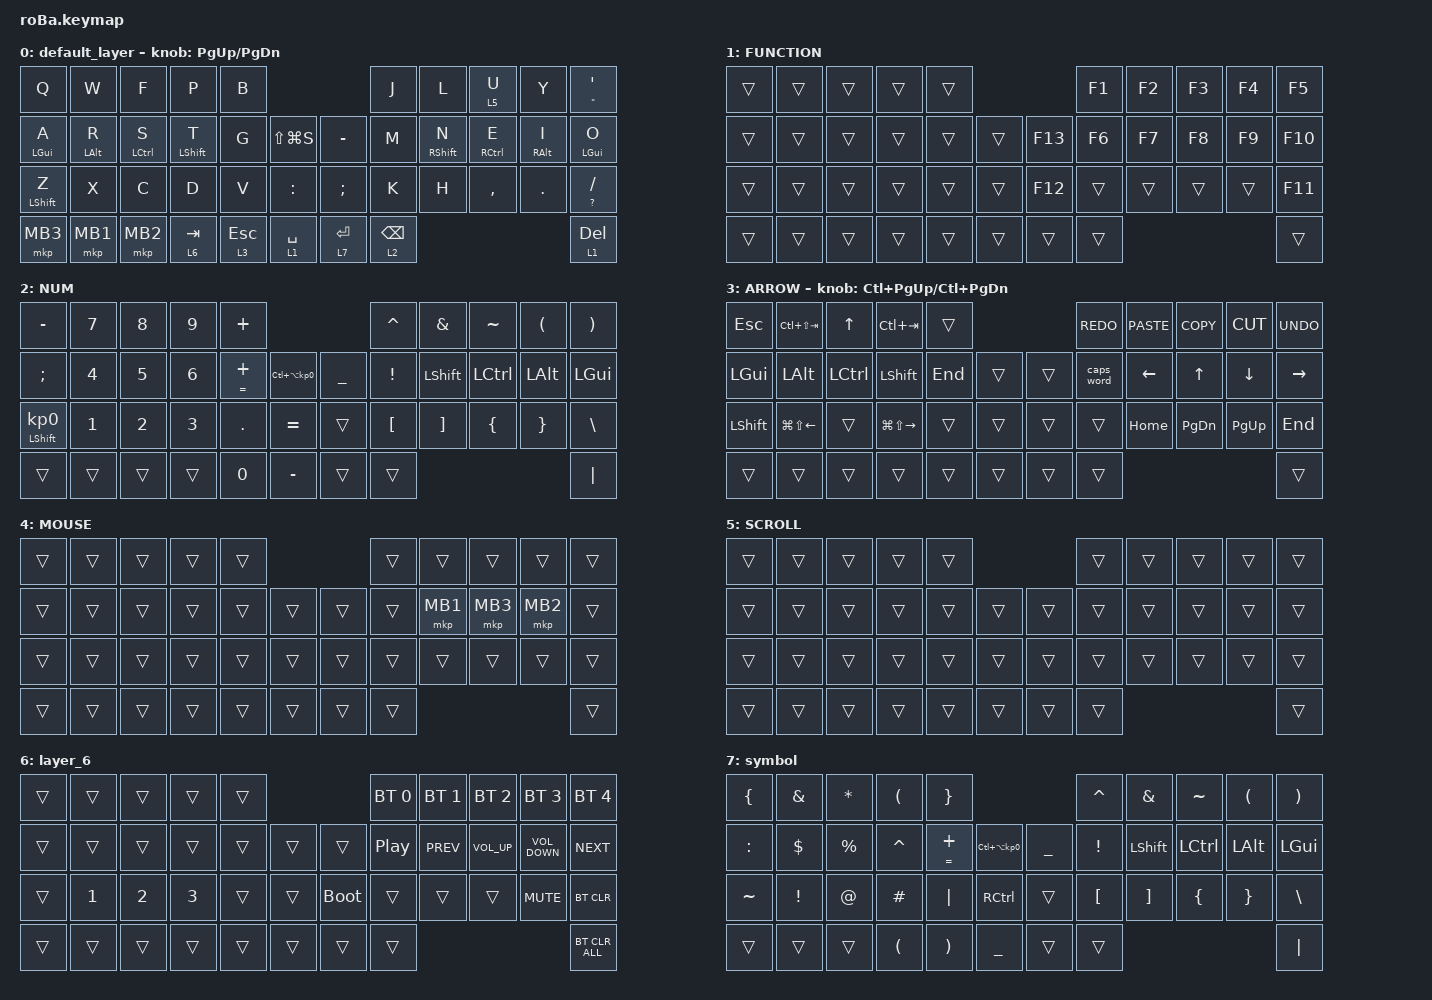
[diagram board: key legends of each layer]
#include <behaviors.dtsi>
#include <dt-bindings/zmk/bt.h>
#include <dt-bindings/zmk/keys.h>
#include <dt-bindings/zmk/pointing.h>

#define MOUSE 4
#define SCROLL 5
#define NUM 6

&mt {
    flavor = "balanced";
    quick-tap-ms = <0>;
};

/ {
    combos {
        compatible = "zmk,combos";

        tab {
            bindings = <&kp TAB>;
            key-positions = <2 3>;
        };

        shift_tab {
            bindings = <&kp LS(TAB)>;
            key-positions = <2 3 4>;
        };

        Toggle_Scroll {
            bindings = <&tog 5>;
            key-positions = <31 32>;
        };

        backspace {
            bindings = <&kp BACKSPACE>;
            key-positions = <17 18>;
        };

        return {
            bindings = <&kp RET>;
            key-positions = <29 30>;
        };

        space {
            bindings = <&kp SPACE>;
            key-positions = <13 14>;
        };
    };

    macros {
        to_layer_0: to_layer_0 {
            compatible = "zmk,behavior-macro-one-param";
            #binding-cells = <1>;
            bindings = <&to 0 &macro_param_1to1 &kp MACRO_PLACEHOLDER>;
            label = "TO_LAYER_0";
        };
    };

    behaviors {
        lt_to_layer_0: lt_to_layer_0 {
            compatible = "zmk,behavior-hold-tap";
            label = "LAYER_TAP_TO_0";
            bindings = <&mo>, <&to_layer_0>;

            #binding-cells = <2>;
            tapping-term-ms = <200>;
        };
    };

    keymap {
        compatible = "zmk,keymap";

        default_layer {
            bindings = <
&kp Q             &kp W           &kp F        &kp P             &kp B                                           &kp J            &kp L              &lt 5 U      &kp Y            &mt DOUBLE_QUOTES SQT
&mt LEFT_GUI A    &mt LEFT_ALT R  &mt LCTRL S  &mt LEFT_SHIFT T  &kp G         &kp LS(LG(S))      &kp MINUS      &kp M            &mt RIGHT_SHIFT N  &mt RCTRL E  &mt RIGHT_ALT I  &mt LEFT_GUI O
&mt LEFT_SHIFT Z  &kp X           &kp C        &kp D             &kp V         &kp COLON          &kp SEMICOLON  &kp K            &kp H              &kp COMMA    &kp DOT          &mt QUESTION SLASH
&mkp MB3          &mkp MB1        &mkp MB2     &lt 6 TAB         &lt 3 ESCAPE  &lt 1 SPACE        &lt 7 ENTER    &lt 2 BACKSPACE                                                   &lt 1 DEL
            >;

            sensor-bindings = <&inc_dec_kp PG_UP PAGE_DOWN>;
        };

        FUNCTION {
            bindings = <
&trans  &trans  &trans  &trans  &trans                       &kp F1  &kp F2  &kp F3  &kp F4  &kp F5
&trans  &trans  &trans  &trans  &trans  &trans      &kp F13  &kp F6  &kp F7  &kp F8  &kp F9  &kp F10
&trans  &trans  &trans  &trans  &trans  &trans      &kp F12  &trans  &trans  &trans  &trans  &kp F11
&trans  &trans  &trans  &trans  &trans  &trans      &trans   &trans                          &trans
            >;
        };

        NUM {
            bindings = <
&kp MINUS                   &kp N7        &kp N8        &kp N9  &kp PLUS                                                     &kp CARET         &kp AMPERSAND      &kp TILDE       &kp LEFT_PARENTHESIS  &kp RIGHT_PARENTHESIS
&kp SEMICOLON               &kp N4        &kp N5        &kp N6  &mt EQUAL PLUS  &kp LC(LA(KP_NUMBER_0))      &kp UNDERSCORE  &kp EXCLAMATION   &kp LSHFT          &kp LCTRL       &kp LALT              &kp LGUI
&mt LEFT_SHIFT KP_NUMBER_0  &kp NUMBER_1  &kp NUMBER_2  &kp N3  &kp PERIOD      &kp EQUAL                    &trans          &kp LEFT_BRACKET  &kp RIGHT_BRACKET  &kp LEFT_BRACE  &kp RIGHT_BRACE       &kp BACKSLASH
&trans                      &trans        &trans        &trans  &kp NUMBER_0    &kp MINUS                    &trans          &trans                                                                     &kp PIPE
            >;
        };

        ARROW {
            bindings = <
&kp ESCAPE      &kp LC(LS(TAB))         &kp UP_ARROW  &kp LC(TAB)              &trans                       &kp K_REDO  &kp K_PASTE     &kp K_COPY     &kp K_CUT       &kp K_UNDO
&kp LGUI        &kp LALT                &kp LCTRL     &kp LSHFT                &kp END  &trans      &trans  &caps_word  &kp LEFT_ARROW  &kp UP_ARROW   &kp DOWN_ARROW  &kp RIGHT_ARROW
&kp LEFT_SHIFT  &kp LG(LS(LEFT_ARROW))  &trans        &kp LG(LS(RIGHT_ARROW))  &trans   &trans      &trans  &trans      &kp HOME        &kp PAGE_DOWN  &kp PAGE_UP     &kp END
&trans          &trans                  &trans        &trans                   &trans   &trans      &trans  &trans                                                     &trans
            >;

            sensor-bindings = <&inc_dec_kp LC(PAGE_UP) LC(PAGE_DOWN)>;
        };

        MOUSE {
            bindings = <
&trans  &trans  &trans  &trans  &trans                      &trans  &trans    &trans    &trans    &trans
&trans  &trans  &trans  &trans  &trans  &trans      &trans  &trans  &mkp MB1  &mkp MB3  &mkp MB2  &trans
&trans  &trans  &trans  &trans  &trans  &trans      &trans  &trans  &trans    &trans    &trans    &trans
&trans  &trans  &trans  &trans  &trans  &trans      &trans  &trans                                &trans
            >;
        };

        SCROLL {
            bindings = <
&trans  &trans  &trans  &trans  &trans                      &trans  &trans  &trans  &trans  &trans
&trans  &trans  &trans  &trans  &trans  &trans      &trans  &trans  &trans  &trans  &trans  &trans
&trans  &trans  &trans  &trans  &trans  &trans      &trans  &trans  &trans  &trans  &trans  &trans
&trans  &trans  &trans  &trans  &trans  &trans      &trans  &trans                          &trans
            >;
        };

        layer_6 {
            bindings = <
&trans  &trans        &trans        &trans        &trans                           &bt BT_SEL 0      &bt BT_SEL 1  &bt BT_SEL 2     &bt BT_SEL 3       &bt BT_SEL 4
&trans  &trans        &trans        &trans        &trans  &trans      &trans       &kp C_PLAY_PAUSE  &kp K_PREV    &kp C_VOLUME_UP  &kp C_VOLUME_DOWN  &kp K_NEXT
&trans  &kp NUMBER_1  &kp NUMBER_2  &kp NUMBER_3  &trans  &trans      &bootloader  &trans            &trans        &trans           &kp C_MUTE         &bt BT_CLR
&trans  &trans        &trans        &trans        &trans  &trans      &trans       &trans                                                              &bt BT_CLR_ALL
            >;
        };

        symbol {
            bindings = <
&kp LEFT_BRACE  &kp AMPERSAND    &kp ASTRK    &kp LEFT_PARENTHESIS  &kp RIGHT_BRACE                                                     &kp CARET         &kp AMPERSAND      &kp TILDE       &kp LEFT_PARENTHESIS  &kp RIGHT_PARENTHESIS
&kp COLON       &kp DOLLAR       &kp PERCENT  &kp CARET             &mt EQUAL PLUS         &kp LC(LA(KP_NUMBER_0))      &kp UNDERSCORE  &kp EXCLAMATION   &kp LSHFT          &kp LCTRL       &kp LALT              &kp LGUI
&kp TILDE       &kp EXCLAMATION  &kp AT       &kp HASH              &kp PIPE               &kp RCTRL                    &trans          &kp LEFT_BRACKET  &kp RIGHT_BRACKET  &kp LEFT_BRACE  &kp RIGHT_BRACE       &kp BACKSLASH
&trans          &trans           &trans       &kp LEFT_PARENTHESIS  &kp RIGHT_PARENTHESIS  &kp UNDER                    &trans          &trans                                                                     &kp PIPE
            >;
        };
    };
};
